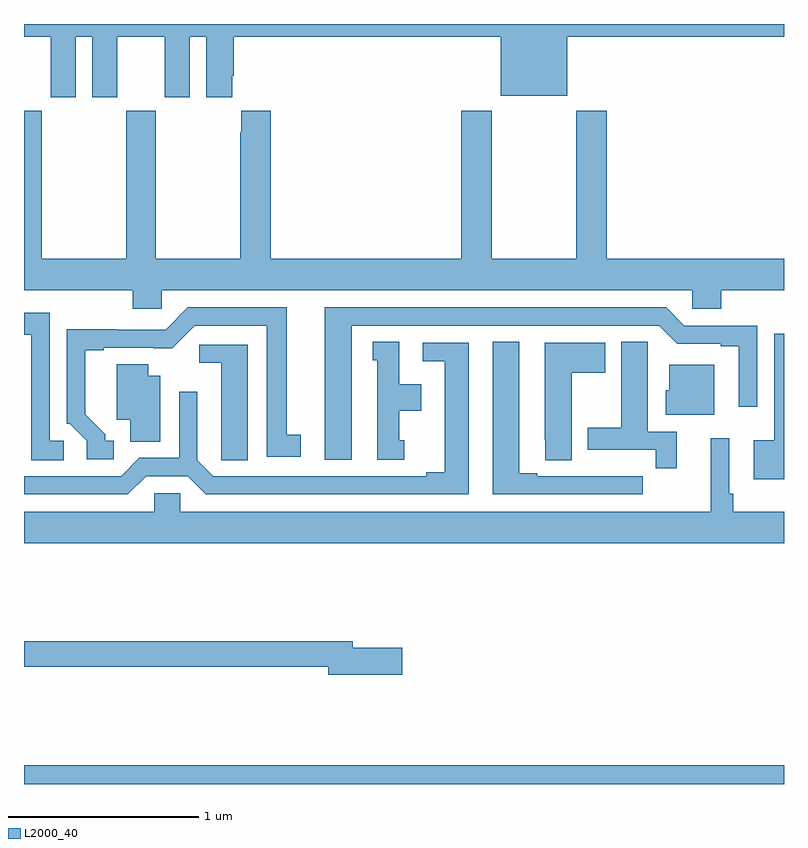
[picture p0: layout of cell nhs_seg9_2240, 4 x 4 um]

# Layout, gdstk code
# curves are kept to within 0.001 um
import gdstk
lib = gdstk.Library(unit=1e-6, precision=1e-09)
def R(c, l, rs):  # rectangles x0, y0, x1, y1
    for r in rs: c.add(gdstk.rectangle(r[:2], r[2:], *l))
def P(c, l, *ps):  # polygons
    for p in ps: c.add(gdstk.Polygon(p, *l))
L2000_40 = (2000, 40)

nhs_seg9_2240 = lib.new_cell('nhs_seg9_2240')
R(nhs_seg9_2240, L2000_40, [(239,1180.5,243,1180.6)])
P(nhs_seg9_2240, L2000_40, [(239.272,1184.432),(239.36,1184.432),(239.36,1184.115),(239.491,1184.115),(239.491,1184.432),(239.741,1184.432),(239.741,1184.115),(239.872,1184.115),(239.872,1184.432),(239.96,1184.432),(239.96,1184.115),(240.097,1184.115),(240.097,1184.227),(240.104,1184.227),(240.104,1184.432),(241.508,1184.432),(241.508,1184.123),(241.858,1184.123),(241.858,1184.432),(243,1184.432),(243,1184.5),(239,1184.5),(239,1184.432),(239.141,1184.432),(239.141,1184.115),(239.272,1184.115)],
  [(242.517,1183.002),(242.669,1183.002),(242.669,1183.1),(243,1183.1),(243,1183.264),(242.066,1183.264),(242.066,1184.044),(241.906,1184.044),(241.906,1183.264),(241.461,1183.264),(241.461,1184.044),(241.301,1184.044),(241.301,1183.264),(240.299,1183.264),(240.299,1184.044),(240.143,1184.044),(240.143,1183.931),(240.139,1183.931),(240.139,1183.264),(239.694,1183.264),(239.694,1184.044),(239.539,1184.044),(239.539,1183.264),(239.094,1183.264),(239.094,1184.044),(239,1184.044),(239,1183.1),(239.573,1183.1),(239.573,1183.002),(239.724,1183.002),(239.724,1183.1),(242.517,1183.1)],
  [(240.724,1182.912),(242.343,1182.912),(242.439,1182.816),(242.666,1182.816),(242.666,1182.804),(242.762,1182.804),(242.762,1182.486),(242.859,1182.486),(242.859,1182.912),(242.475,1182.912),(242.379,1183.008),(240.584,1183.008),(240.584,1182.207),(240.724,1182.207)],
  [(239.473,1182.306),(239.428,1182.306),(239.428,1182.341),(239.323,1182.446),(239.323,1182.783),(239.419,1182.783),(239.419,1182.795),(239.78,1182.794),(239.898,1182.912),(240.278,1182.912),(240.278,1182.222),(240.457,1182.222),(240.457,1182.338),(240.382,1182.338),(240.382,1183.008),(239.862,1183.008),(239.745,1182.891),(239.489,1182.891),(239.489,1182.893),(239.226,1182.893),(239.226,1182.396),(239.241,1182.396),(239.331,1182.306),(239.331,1182.21),(239.473,1182.21)],
  [(239.209,1182.306),(239.136,1182.306),(239.136,1182.981),(239,1182.981),(239,1182.865),(239.039,1182.865),(239.039,1182.205),(239.209,1182.205)],
  [(243,1182.871),(242.949,1182.871),(242.949,1182.31),(242.84,1182.31),(242.84,1182.104),(243,1182.104)],
  [(242.257,1182.12),(242.144,1182.12),(242.144,1182.121),(241.978,1182.121),(241.978,1182.12),(241.702,1182.12),(241.702,1182.135),(241.606,1182.135),(241.606,1182.827),(241.466,1182.827),(241.466,1182.024),(242.257,1182.024)],
  [(242.435,1182.354),(242.284,1182.354),(242.284,1182.716),(242.283,1182.716),(242.283,1182.827),(242.144,1182.827),(242.144,1182.375),(241.967,1182.375),(241.967,1182.258),(242.326,1182.258),(242.326,1182.162),(242.435,1182.162)],
  [(241,1182.309),(240.976,1182.309),(240.976,1182.464),(241.09,1182.464),(241.09,1182.604),(240.976,1182.604),(240.976,1182.827),(240.836,1182.827),(240.836,1182.729),(240.86,1182.729),(240.86,1182.207),(241,1182.207)],
  [(241.882,1182.664),(242.059,1182.664),(242.059,1182.823),(241.742,1182.823),(241.742,1182.313),(241.743,1182.313),(241.743,1182.205),(241.882,1182.205)],
  [(239.643,1182.12),(239.861,1182.12),(239.957,1182.024),(241.342,1182.024),(241.342,1182.822),(241.098,1182.822),(241.098,1182.726),(241.214,1182.726),(241.214,1182.14),(241.118,1182.14),(241.118,1182.12),(239.997,1182.12),(239.913,1182.204),(239.913,1182.565),(239.817,1182.565),(239.817,1182.216),(239.607,1182.216),(239.511,1182.12),(239,1182.12),(239,1182.024),(239.547,1182.024)],
  [(240.178,1182.813),(239.922,1182.813),(239.922,1182.716),(240.038,1182.716),(240.038,1182.313),(240.039,1182.313),(240.039,1182.205),(240.178,1182.205)],
  [(239.716,1182.649),(239.653,1182.649),(239.653,1182.71),(239.489,1182.71),(239.489,1182.416),(239.558,1182.416),(239.558,1182.301),(239.716,1182.301)],
  [(242.632,1182.706),(242.396,1182.706),(242.396,1182.573),(242.378,1182.573),(242.378,1182.443),(242.632,1182.443)],
  [(243,1181.932),(242.732,1181.932),(242.732,1182.028),(242.712,1182.028),(242.712,1182.319),(242.615,1182.319),(242.615,1181.932),(239.823,1181.932),(239.823,1182.03),(239.685,1182.03),(239.685,1181.932),(239,1181.932),(239,1181.768),(243,1181.768)],
  [(240.991,1181.216),(240.73,1181.216),(240.73,1181.252),(239,1181.252),(239,1181.116),(240.602,1181.116),(240.602,1181.074),(240.991,1181.074)])

lib.write_gds('nhs_seg9_2240.gds')
